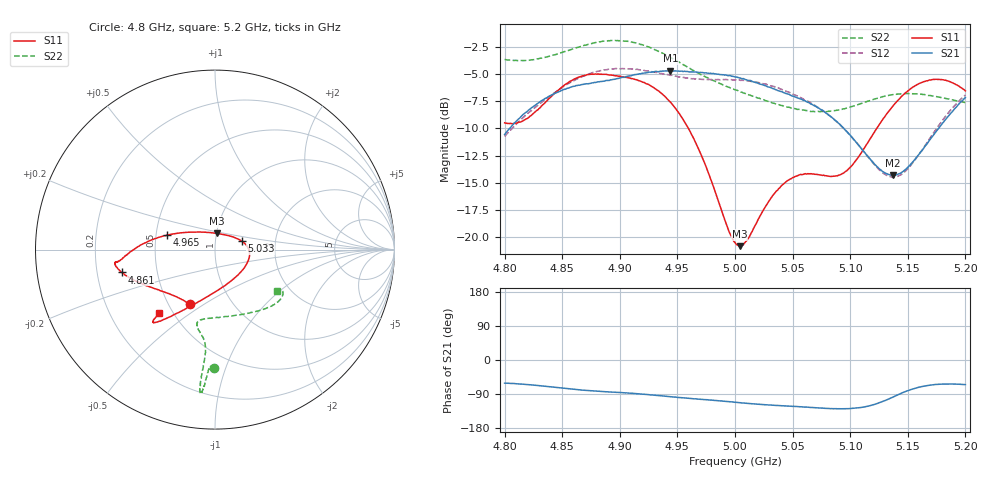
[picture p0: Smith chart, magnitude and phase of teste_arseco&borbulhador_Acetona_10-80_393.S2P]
! Network Analyzer HP8722D
! Hewlett-Packard
! Data name: Linha & Wilkinson
! Saver's name: Rodrigo Anjos
! Comments: Teste da utilização de aquisição
! continua pelo VNA HP8722D
! Time and date: 17/4/2025 17:38
!  Frequency  S11  S21  S12  S22
# HZ  S  MA R 50
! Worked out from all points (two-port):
!   401 points, 4.8 GHz to 5.2 GHz, reference 50 ohm
!   highest |S21| = -4.69 dB at 4.944 GHz (marker M1); lowest = -14.3 dB at 5.137 GHz (marker M2)
!   |S21| within 3 dB of the highest: 4.829 GHz to 5.065 GHz (236.2 MHz wide, 4.77 % of centre); 5.194811 GHz to end of sweep
!   lowest |S11| = -20.8 dB at 5.004 GHz (marker M3), VSWR 1.20, Z = 50.3 + j9.13 ohm
!   |S11| at or under -10 dB: 4.96 GHz to 5.123 GHz (163.5 MHz wide, 3.24 % of centre)
!   |S22| runs from -8.5 to -1.9 dB; largest |S21 - S12| = 0.87
!   S11 on the Smith chart (normalised r, x): 4.8 GHz: 0.64, -0.44; 4.861 GHz: 0.31, -0.11; 4.965 GHz: 0.57, +0.10; 5.033 GHz: 1.34, +0.13; 5.2 GHz: 0.42, -0.38
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4.8e9  0.3356 -114.3  0.2964 -61.1  0.2906 -175.3  0.657 -90.5
4.819e9  0.3501 -134.4  0.3768 -64.7  0.3656 -174.2  0.6516 -92.0
4.861e9  0.5354 -166.3  0.4948 -77.6  0.528 -177.5  0.74 -94.2
4.867e9  0.5499 -168.6  0.5034 -79.4  0.5465 -178.7  0.757 -94.4
4.9e9  0.5502 -173.0  0.5393 -85.7  0.5954 174.9  0.8015 -95.8
4.934e9  0.4691 -178.7  0.5776 -94.2  0.5704 171.3  0.7137 -96.1
4.944e9  0.4176 176.7  0.5826 -96.9  0.5551 171.5  0.6711 -95.9
4.965e9  0.278 163.1  0.5755 -102.6  0.5342 173.2  0.5804 -95.4
5e9  0.09422 97.9  0.5457 -111.6  0.5292 175.7  0.4761 -99.4
5.004e9  0.09073 82.7  0.5404 -112.7  0.529 175.6  0.4672 -100.2
5.011e9  0.09753 58.5  0.5268 -114.4  0.5238 175.4  0.4549 -101.8
5.033e9  0.1559 18.0  0.4821 -119.2  0.4943 174.3  0.4133 -103.5
5.048e9  0.185 2.9  0.45 -121.8  0.4614 173.8  0.3942 -99.9
5.067e9  0.1951 -17.3  0.4077 -125.2  0.4106 173.3  0.3783 -90.1
5.096e9  0.2004 -68.0  0.3096 -128.5  0.3099 174.6  0.3911 -67.4
5.123e9  0.316 -109.3  0.2115 -115.3  0.2101 -169.9  0.435 -48.5
5.134e9  0.3824 -117.9  0.1937 -102.1  0.19 -155.1  0.4498 -43.1
5.137e9  0.4001 -119.6  0.192 -98.0  0.1887 -150.2  0.4526 -41.8
5.15e9  0.4703 -125.4  0.2092 -81.0  0.2059 -130.7  0.4576 -37.0
5.17e9  0.5289 -129.8  0.2836 -66.0  0.2889 -112.3  0.4478 -32.3
5.184e9  0.5245 -131.0  0.3546 -63.4  0.3663 -107.6  0.4334 -31.4
5.2e9  0.4708 -131.2  0.439 -65.0  0.4504 -107.1  0.4157 -33.6
